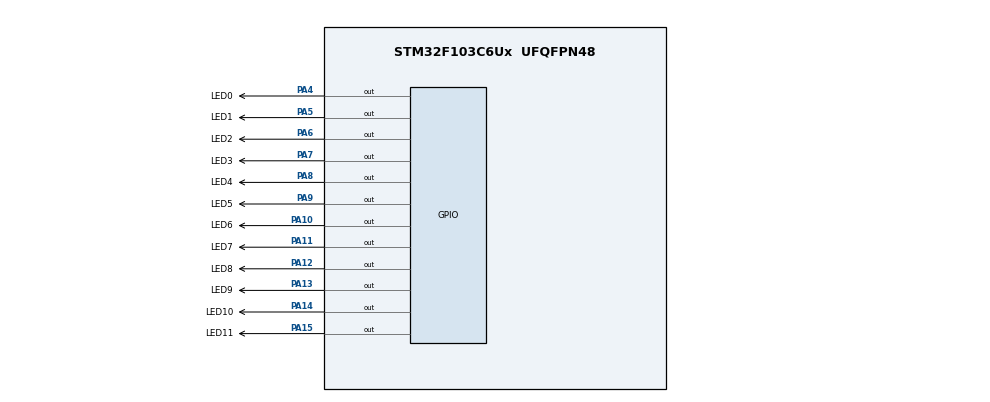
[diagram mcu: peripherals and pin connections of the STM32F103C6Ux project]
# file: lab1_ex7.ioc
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Mcu.Family=STM32F1
Mcu.Name=STM32F103C6Ux
Mcu.Package=UFQFPN48
NVIC.PriorityGroup=NVIC_PRIORITYGROUP_4
PA10.GPIO_Label=LED6
PA10.Signal=GPIO_Output
PA11.GPIO_Label=LED7
PA11.Signal=GPIO_Output
PA12.GPIO_Label=LED8
PA12.Signal=GPIO_Output
PA13.GPIO_Label=LED9
PA13.Signal=GPIO_Output
PA14.GPIO_Label=LED10
PA14.Signal=GPIO_Output
PA15.GPIO_Label=LED11
PA15.Signal=GPIO_Output
PA4.GPIO_Label=LED0
PA4.Signal=GPIO_Output
PA5.GPIO_Label=LED1
PA5.Signal=GPIO_Output
PA6.GPIO_Label=LED2
PA6.Signal=GPIO_Output
PA7.GPIO_Label=LED3
PA7.Signal=GPIO_Output
PA8.GPIO_Label=LED4
PA8.Signal=GPIO_Output
PA9.GPIO_Label=LED5
PA9.Signal=GPIO_Output
ProjectManager.HeapSize=0x200
ProjectManager.StackSize=0x400
ProjectManager.TargetToolchain=STM32CubeIDE
RCC.APB1Freq_Value=8000000
RCC.APB2Freq_Value=8000000
VP_SYS_VS_ND.Mode=No_Debug
board=custom

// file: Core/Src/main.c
/* USER CODE BEGIN Header */
/**
  ******************************************************************************
  * @file           : main.c
  * @brief          : Main program body
  ******************************************************************************
  * @attention
  *
  * <h2><center>&copy; Copyright (c) 2025 STMicroelectronics.
  * All rights reserved.</center></h2>
  *
  * This software component is licensed by ST under BSD 3-Clause license,
  * the "License"; You may not use this file except in compliance with the
  * License. You may obtain a copy of the License at:
  *                        opensource.org/licenses/BSD-3-Clause
  *
  ******************************************************************************
  */
/* USER CODE END Header */
#include "main.h"

void SystemClock_Config(void);
static void MX_GPIO_Init(void);

int main(void)
{

  /* MCU Configuration--------------------------------------------------------*/

  /* Reset of all peripherals, Initializes the Flash interface and the Systick. */
  HAL_Init();

  /* Configure the system clock */
  SystemClock_Config();

  /* Initialize all configured peripherals */
  MX_GPIO_Init();

  /* Infinite loop */
  /* USER CODE BEGIN WHILE */

  const uint16_t led_pins[12] = {
      LED0_Pin, LED1_Pin, LED2_Pin, LED3_Pin,
	  LED4_Pin, LED5_Pin, LED6_Pin, LED7_Pin,
	  LED8_Pin, LED9_Pin, LED10_Pin, LED11_Pin
  };

  GPIO_TypeDef* led_ports[12] = {
	  LED0_GPIO_Port, LED1_GPIO_Port, LED2_GPIO_Port, LED3_GPIO_Port,
	  LED4_GPIO_Port, LED5_GPIO_Port, LED6_GPIO_Port, LED7_GPIO_Port,
	  LED8_GPIO_Port, LED9_GPIO_Port, LED10_GPIO_Port, LED11_GPIO_Port
  };

  //EX7
  void clearAllClock()
  {
	  for (int i = 0; i < 12; i++)
	  {
	  		  HAL_GPIO_WritePin(led_ports[i], led_pins[i], GPIO_PIN_SET);
	  }
  }

  while (1)
  {
	  // check clearAllClock()
	  HAL_GPIO_WritePin(LED1_GPIO_Port, LED1_Pin, GPIO_PIN_RESET);
	  HAL_GPIO_WritePin(LED5_GPIO_Port, LED5_Pin, GPIO_PIN_RESET);
	  HAL_GPIO_WritePin(LED8_GPIO_Port, LED8_Pin, GPIO_PIN_RESET);
	  HAL_GPIO_WritePin(LED11_GPIO_Port, LED11_Pin, GPIO_PIN_RESET);
	  HAL_GPIO_WritePin(LED3_GPIO_Port, LED3_Pin, GPIO_PIN_RESET);
	  HAL_Delay(1000);

	  clearAllClock();
	  HAL_Delay(1000);

    /* USER CODE END WHILE */

  }
}

void SystemClock_Config(void)
{
  RCC_OscInitTypeDef RCC_OscInitStruct = {0};
  RCC_ClkInitTypeDef RCC_ClkInitStruct = {0};

  /** Initializes the RCC Oscillators according to the specified parameters
  * in the RCC_OscInitTypeDef structure.
  */
  RCC_OscInitStruct.OscillatorType = RCC_OSCILLATORTYPE_HSI;
  RCC_OscInitStruct.HSIState = RCC_HSI_ON;
  RCC_OscInitStruct.HSICalibrationValue = RCC_HSICALIBRATION_DEFAULT;
  RCC_OscInitStruct.PLL.PLLState = RCC_PLL_NONE;
  if (HAL_RCC_OscConfig(&RCC_OscInitStruct) != HAL_OK)
  {
    Error_Handler();
  }
  /** Initializes the CPU, AHB and APB buses clocks
  */
  RCC_ClkInitStruct.ClockType = RCC_CLOCKTYPE_HCLK|RCC_CLOCKTYPE_SYSCLK
                              |RCC_CLOCKTYPE_PCLK1|RCC_CLOCKTYPE_PCLK2;
  RCC_ClkInitStruct.SYSCLKSource = RCC_SYSCLKSOURCE_HSI;
  RCC_ClkInitStruct.AHBCLKDivider = RCC_SYSCLK_DIV1;
  RCC_ClkInitStruct.APB1CLKDivider = RCC_HCLK_DIV1;
  RCC_ClkInitStruct.APB2CLKDivider = RCC_HCLK_DIV1;

  if (HAL_RCC_ClockConfig(&RCC_ClkInitStruct, FLASH_LATENCY_0) != HAL_OK)
  {
    Error_Handler();
  }
}

static void MX_GPIO_Init(void)
{
  GPIO_InitTypeDef GPIO_InitStruct = {0};

  /* GPIO Ports Clock Enable */
  __HAL_RCC_GPIOA_CLK_ENABLE();

  /*Configure GPIO pin Output Level */
  HAL_GPIO_WritePin(GPIOA, LED0_Pin|LED1_Pin|LED2_Pin|LED3_Pin
                          |LED4_Pin|LED5_Pin|LED6_Pin|LED7_Pin
                          |LED8_Pin|LED9_Pin|LED10_Pin|LED11_Pin, GPIO_PIN_RESET);

  /*Configure GPIO pins : LED0_Pin LED1_Pin LED2_Pin LED3_Pin
                           LED4_Pin LED5_Pin LED6_Pin LED7_Pin
                           LED8_Pin LED9_Pin LED10_Pin LED11_Pin */
  GPIO_InitStruct.Pin = LED0_Pin|LED1_Pin|LED2_Pin|LED3_Pin
                          |LED4_Pin|LED5_Pin|LED6_Pin|LED7_Pin
                          |LED8_Pin|LED9_Pin|LED10_Pin|LED11_Pin;
  GPIO_InitStruct.Mode = GPIO_MODE_OUTPUT_PP;
  GPIO_InitStruct.Pull = GPIO_NOPULL;
  GPIO_InitStruct.Speed = GPIO_SPEED_FREQ_LOW;
  HAL_GPIO_Init(GPIOA, &GPIO_InitStruct);

}

void Error_Handler(void)
{
  __disable_irq();
  while (1)
  {
  }
}

/************************ (C) COPYRIGHT STMicroelectronics *****END OF FILE****/
